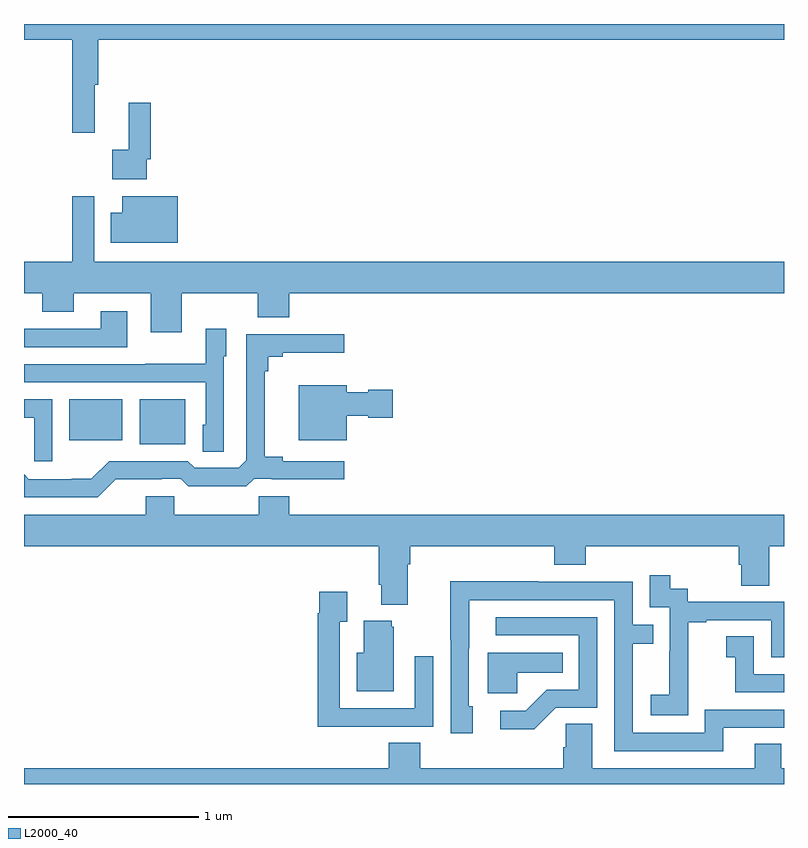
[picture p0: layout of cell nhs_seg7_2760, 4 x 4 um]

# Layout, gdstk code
import gdstk
lib = gdstk.Library(unit=1e-6, precision=1e-09)
def R(c, l, rs):  # rectangles x0, y0, x1, y1
    for r in rs: c.add(gdstk.rectangle(r[:2], r[2:], *l))
def P(c, l, *ps):  # polygons
    for p in ps: c.add(gdstk.Polygon(p, *l))
L2000_40 = (2000, 40)

nhs_seg7_2760 = lib.new_cell('nhs_seg7_2760')
R(nhs_seg7_2760, L2000_40, [(289.61,1031.789,289.849,1032.025), (289.238,1031.81,289.516,1032.025)])
P(nhs_seg7_2760, L2000_40, [(289.373,1033.68),(289.391,1033.68),(289.391,1033.916),(293,1033.916),(293,1034),(289,1034),(289,1033.916),(289.255,1033.916),(289.255,1033.428),(289.373,1033.428)],
  [(289.647,1033.288),(289.667,1033.288),(289.667,1033.585),(289.55,1033.585),(289.55,1033.337),(289.464,1033.337),(289.464,1033.184),(289.647,1033.184)],
  [(289.81,1033.093),(289.517,1033.093),(289.517,1033.006),(289.456,1033.006),(289.456,1032.848),(289.81,1032.848)],
  [(289.831,1032.584),(290.231,1032.584),(290.231,1032.456),(290.395,1032.456),(290.395,1032.584),(293,1032.584),(293,1032.748),(289.371,1032.748),(289.371,1033.093),(289.255,1033.093),(289.255,1032.748),(289,1032.748),(289,1032.584),(289.097,1032.584),(289.097,1032.485),(289.261,1032.485),(289.261,1032.584),(289.667,1032.584),(289.667,1032.378),(289.831,1032.378)],
  [(289.543,1032.487),(289.403,1032.487),(289.403,1032.396),(289,1032.396),(289,1032.3),(289.543,1032.3)],
  [(290.052,1032.252),(290.065,1032.252),(290.065,1032.397),(289.956,1032.397),(289.956,1032.211),(289.639,1032.211),(289.639,1032.21),(289,1032.21),(289,1032.114),(289.956,1032.114),(289.956,1031.892),(289.94,1031.892),(289.94,1031.749),(290.052,1031.749)],
  [(289.484,1031.603),(289.724,1031.603),(289.724,1031.607),(289.824,1031.607),(289.864,1031.568),(290.171,1031.568),(290.211,1031.607),(290.305,1031.607),(290.305,1031.603),(290.686,1031.603),(290.686,1031.7),(290.362,1031.7),(290.362,1031.723),(290.267,1031.723),(290.267,1032.173),(290.285,1032.173),(290.285,1032.25),(290.362,1032.25),(290.362,1032.269),(290.686,1032.269),(290.686,1032.366),(290.169,1032.366),(290.169,1031.703),(290.13,1031.664),(289.899,1031.664),(289.863,1031.7),(289.449,1031.7),(289.355,1031.606),(289.25,1031.606),(289.25,1031.604),(289.026,1031.604),(289,1031.63),(289,1031.508),(289.389,1031.508)],
  [(290.698,1031.939),(290.811,1031.939),(290.811,1031.927),(290.941,1031.927),(290.941,1032.074),(290.811,1032.074),(290.811,1032.061),(290.698,1032.061),(290.698,1032.1),(290.447,1032.1),(290.447,1031.81),(290.698,1031.81)],
  [(289.149,1032.024),(289,1032.024),(289,1031.928),(289.053,1031.928),(289.053,1031.7),(289.149,1031.7)],
  [(291.019,1031.156),(291.032,1031.156),(291.032,1031.252),(291.791,1031.252),(291.791,1031.153),(291.956,1031.153),(291.956,1031.252),(292.763,1031.252),(292.763,1031.154),(292.775,1031.154),(292.775,1031.044),(292.923,1031.044),(292.923,1031.252),(293,1031.252),(293,1031.416),(290.396,1031.416),(290.396,1031.514),(290.236,1031.514),(290.236,1031.416),(289.791,1031.416),(289.791,1031.514),(289.64,1031.514),(289.64,1031.416),(289,1031.416),(289,1031.252),(290.867,1031.252),(290.867,1031.05),(290.879,1031.05),(290.879,1030.943),(291.019,1030.943)],
  [(292.497,1030.567),(292.496,1030.567),(292.496,1030.851),(292.591,1030.851),(292.591,1030.863),(292.932,1030.863),(292.932,1030.668),(293,1030.668),(293,1030.959),(292.494,1030.959),(292.494,1031.028),(292.402,1031.028),(292.402,1031.098),(292.293,1031.098),(292.293,1030.929),(292.398,1030.929),(292.398,1030.7),(292.397,1030.7),(292.397,1030.471),(292.299,1030.471),(292.299,1030.361),(292.497,1030.361)],
  [(292.681,1030.296),(293,1030.296),(293,1030.392),(292.584,1030.392),(292.584,1030.269),(292.203,1030.269),(292.203,1030.738),(292.313,1030.738),(292.313,1030.839),(292.203,1030.839),(292.203,1031.064),(291.707,1031.064),(291.707,1031.066),(291.244,1031.066),(291.244,1030.759),(291.246,1030.759),(291.246,1030.266),(291.361,1030.266),(291.361,1030.41),(291.342,1030.41),(291.342,1030.714),(291.343,1030.714),(291.343,1030.968),(292.107,1030.968),(292.107,1030.173),(292.681,1030.173)],
  [(290.837,1030.302),(291.153,1030.302),(291.153,1030.672),(291.057,1030.672),(291.057,1030.398),(290.661,1030.398),(290.661,1030.855),(290.701,1030.855),(290.701,1031.011),(290.553,1031.011),(290.553,1030.898),(290.545,1030.898),(290.545,1030.301),(290.837,1030.301)],
  [(291.798,1030.401),(292.017,1030.401),(292.017,1030.878),(291.483,1030.878),(291.483,1030.782),(291.921,1030.782),(291.921,1030.497),(291.752,1030.497),(291.641,1030.386),(291.507,1030.386),(291.507,1030.289),(291.685,1030.289)],
  [(290.947,1030.827),(290.936,1030.827),(290.936,1030.858),(290.789,1030.858),(290.789,1030.69),(290.75,1030.69),(290.75,1030.487),(290.947,1030.487)],
  [(293,1030.578),(292.842,1030.578),(292.842,1030.777),(292.695,1030.777),(292.695,1030.667),(292.744,1030.667),(292.744,1030.482),(293,1030.482)],
  [(291.597,1030.586),(291.836,1030.586),(291.836,1030.69),(291.44,1030.69),(291.44,1030.478),(291.597,1030.478)],
  [(293,1030.084),(292.986,1030.084),(292.986,1030.211),(292.847,1030.211),(292.847,1030.084),(291.991,1030.084),(291.991,1030.316),(291.852,1030.316),(291.852,1030.193),(291.839,1030.193),(291.839,1030.084),(291.086,1030.084),(291.086,1030.217),(290.921,1030.217),(290.921,1030.084),(289,1030.084),(289,1030),(293,1030)])

lib.write_gds('nhs_seg7_2760.gds')
